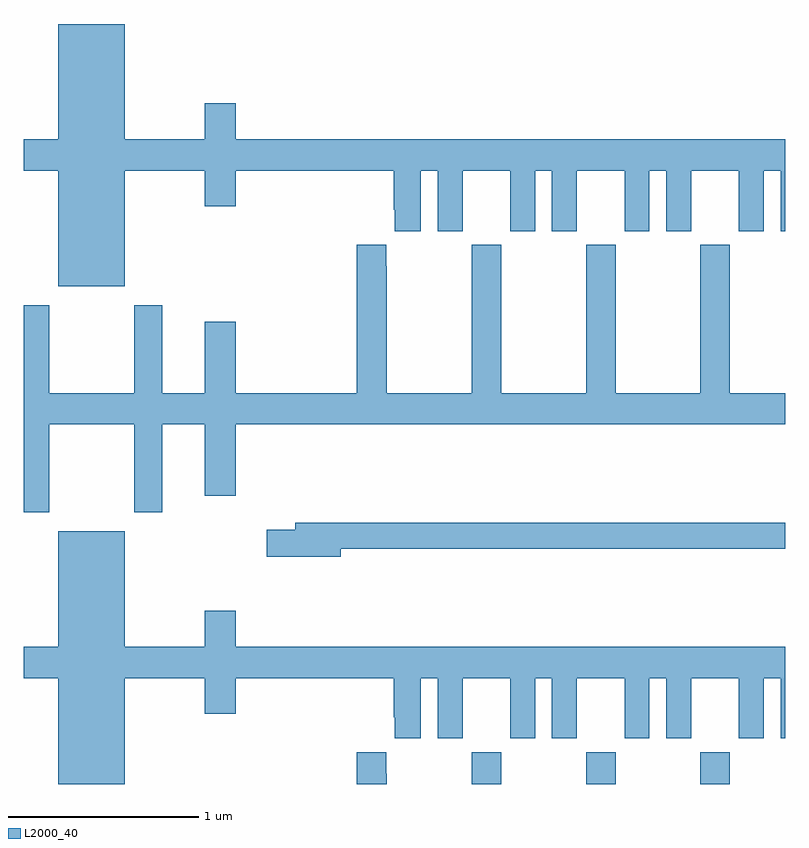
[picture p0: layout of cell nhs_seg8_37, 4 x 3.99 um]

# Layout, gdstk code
import gdstk
lib = gdstk.Library(unit=1e-6, precision=1e-09)
def R(c, l, rs):  # rectangles x0, y0, x1, y1
    for r in rs: c.add(gdstk.rectangle(r[:2], r[2:], *l))
def A(c, l, x, y, w, h, nx, ny, dx, dy):  # array of equal rectangles
    R(c, l, [(x+i*dx, y+j*dy, x+i*dx+w, y+j*dy+h) for i in range(nx) for j in range(ny)])
def P(c, l, *ps):  # polygons
    for p in ps: c.add(gdstk.Polygon(p, *l))
L2000_40 = (2000, 40)

nhs_seg8_37 = lib.new_cell('nhs_seg8_37')
A(nhs_seg8_37, L2000_40, 113.353, 1159.9, 0.155, 0.168, 3, 1, 0.6, 0)
P(nhs_seg8_37, L2000_40, [(111.532,1163.12),(111.95,1163.12),(111.95,1162.932),(112.114,1162.932),(112.114,1163.12),(112.943,1163.12),(112.943,1162.915),(112.949,1162.915),(112.949,1162.803),(113.086,1162.803),(113.086,1163.12),(113.174,1163.12),(113.174,1162.803),(113.305,1162.803),(113.305,1163.12),(113.555,1163.12),(113.555,1162.803),(113.686,1162.803),(113.686,1163.12),(113.774,1163.12),(113.774,1162.803),(113.905,1162.803),(113.905,1163.12),(114.155,1163.12),(114.155,1162.803),(114.286,1162.803),(114.286,1163.12),(114.374,1163.12),(114.374,1162.803),(114.505,1162.803),(114.505,1163.12),(114.755,1163.12),(114.755,1162.803),(114.886,1162.803),(114.886,1163.12),(114.974,1163.12),(114.974,1162.803),(115,1162.803),(115,1163.284),(112.114,1163.284),(112.114,1163.473),(111.95,1163.473),(111.95,1163.284),(111.532,1163.284),(111.532,1163.89),(111.182,1163.89),(111.182,1163.284),(111,1163.284),(111,1163.12),(111.182,1163.12),(111.182,1162.514),(111.532,1162.514)],
  [(111.135,1161.788),(111.58,1161.788),(111.58,1161.327),(111.727,1161.327),(111.727,1161.788),(111.95,1161.788),(111.95,1161.414),(112.114,1161.414),(112.114,1161.788),(115,1161.788),(115,1161.952),(114.708,1161.952),(114.708,1162.732),(114.553,1162.732),(114.553,1161.952),(114.108,1161.952),(114.108,1162.732),(113.953,1162.732),(113.953,1161.952),(113.508,1161.952),(113.508,1162.732),(113.353,1162.732),(113.353,1161.952),(112.908,1161.952),(112.908,1162.619),(112.903,1162.619),(112.903,1162.732),(112.748,1162.732),(112.748,1161.952),(112.114,1161.952),(112.114,1162.327),(111.95,1162.327),(111.95,1161.952),(111.727,1161.952),(111.727,1162.414),(111.58,1162.414),(111.58,1161.952),(111.135,1161.952),(111.135,1162.414),(111,1162.414),(111,1161.327),(111.135,1161.327)],
  [(112.666,1161.136),(115,1161.136),(115,1161.272),(112.427,1161.272),(112.427,1161.236),(112.278,1161.236),(112.278,1161.094),(112.666,1161.094)],
  [(111.532,1160.456),(111.95,1160.456),(111.95,1160.268),(112.114,1160.268),(112.114,1160.456),(112.943,1160.456),(112.943,1160.251),(112.949,1160.251),(112.949,1160.139),(113.086,1160.139),(113.086,1160.456),(113.174,1160.456),(113.174,1160.139),(113.305,1160.139),(113.305,1160.456),(113.555,1160.456),(113.555,1160.139),(113.686,1160.139),(113.686,1160.456),(113.774,1160.456),(113.774,1160.139),(113.905,1160.139),(113.905,1160.456),(114.155,1160.456),(114.155,1160.139),(114.286,1160.139),(114.286,1160.456),(114.374,1160.456),(114.374,1160.139),(114.505,1160.139),(114.505,1160.456),(114.755,1160.456),(114.755,1160.139),(114.886,1160.139),(114.886,1160.456),(114.974,1160.456),(114.974,1160.139),(115,1160.139),(115,1160.62),(112.114,1160.62),(112.114,1160.809),(111.95,1160.809),(111.95,1160.62),(111.532,1160.62),(111.532,1161.226),(111.182,1161.226),(111.182,1160.62),(111,1160.62),(111,1160.456),(111.182,1160.456),(111.182,1159.9),(111.532,1159.9)],
  [(112.908,1159.955),(112.903,1159.955),(112.903,1160.068),(112.748,1160.068),(112.748,1159.9),(112.908,1159.9)])

lib.write_gds('nhs_seg8_37.gds')
